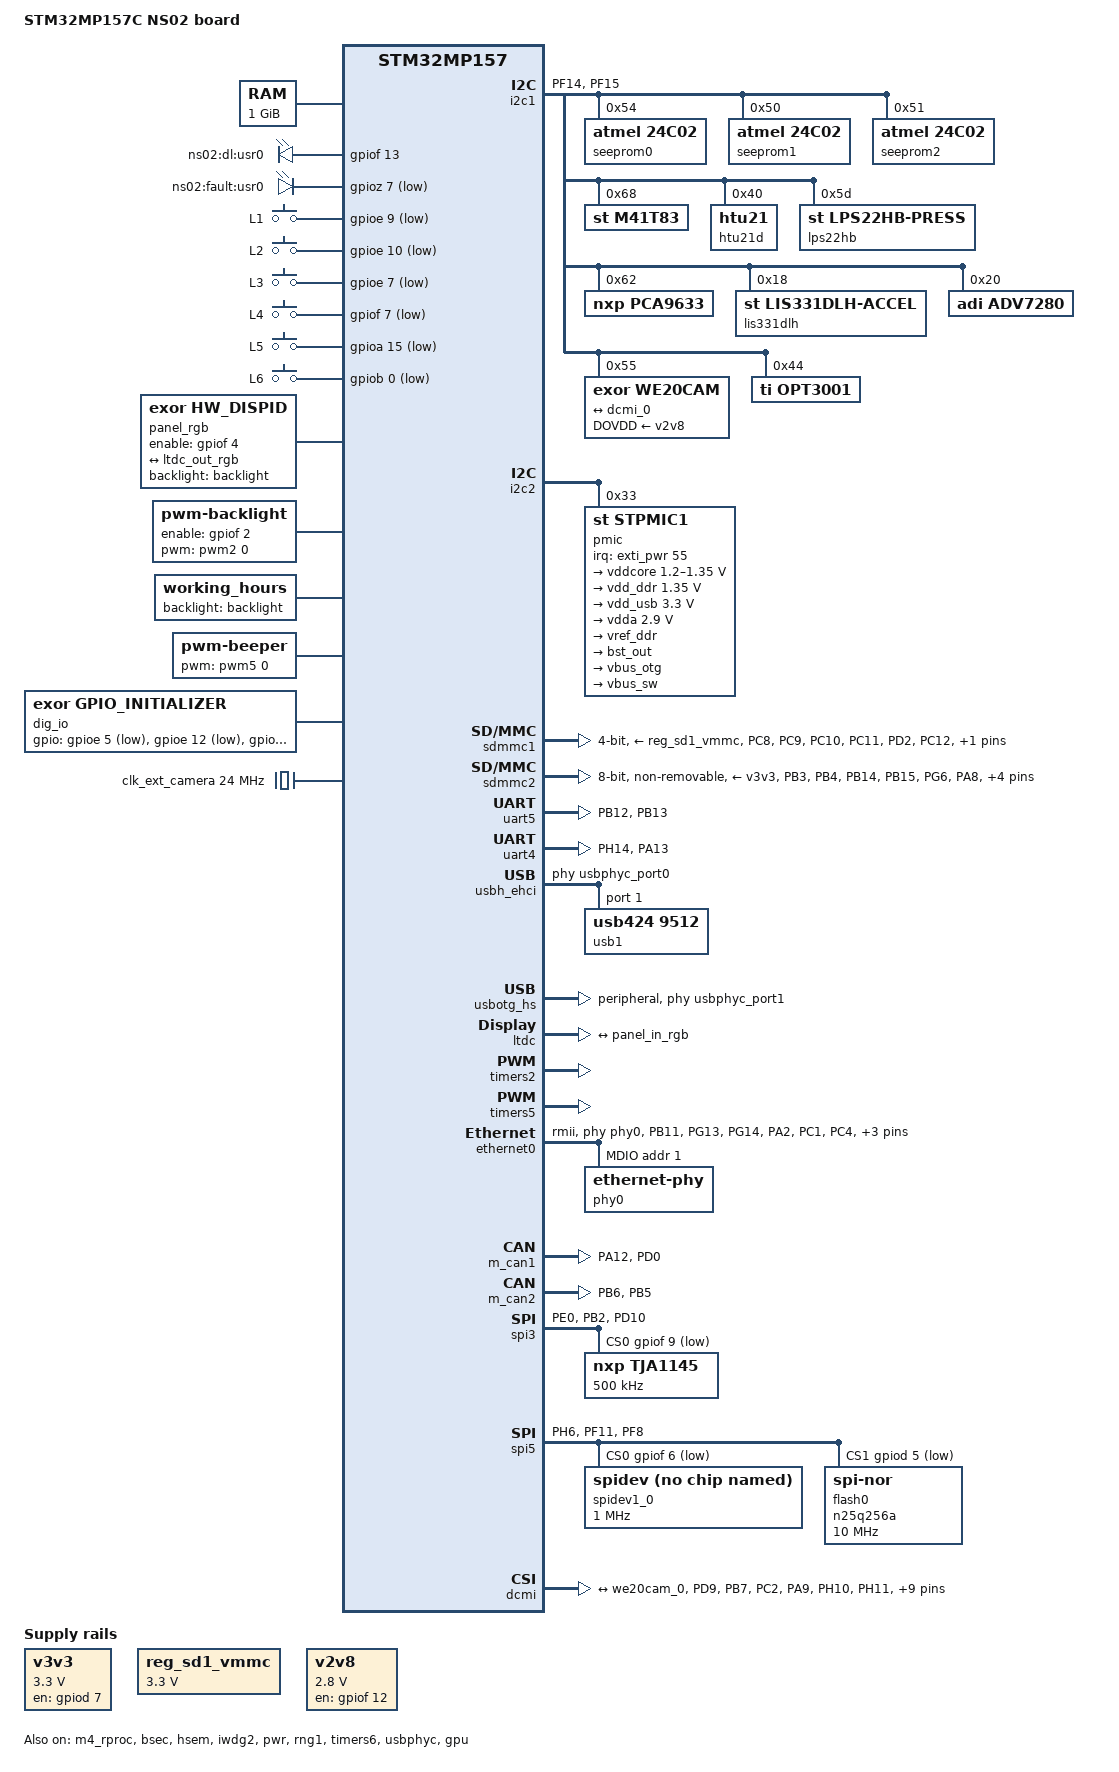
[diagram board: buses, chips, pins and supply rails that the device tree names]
/* SPDX-License-Identifier: (GPL-2.0+ OR BSD-3-Clause) */
/*
 * Copyright (C) STMicroelectronics 2019 - All Rights Reserved
 * Author: STM32CubeMX code generation for STMicroelectronics.
 */

/dts-v1/;
#include "stm32mp157c.dtsi"
#include "stm32mp157c-m4-srm.dtsi"
#include "stm32mp157cac-pinctrl.dtsi"

/* USER CODE BEGIN includes */
#include <dt-bindings/gpio/gpio.h>
#include <dt-bindings/input/input.h>
#include <dt-bindings/mfd/st,stpmic1.h>
#include <dt-bindings/rtc/rtc-stm32.h>
/* USER CODE END includes */

/ {
	model = "STM32MP157C NS02 board";
	compatible = "st,stm32mp157c-ns02", "st,stm32mp157";

	memory@c0000000 {
		reg = <0xc0000000 0x40000000>;

		/* USER CODE BEGIN memory */
		/* USER CODE END memory */
	};

	reserved-memory {
		#address-cells = <1>;
		#size-cells = <1>;
		ranges;

		/* USER CODE BEGIN reserved-memory */

		retram: retram@0x38000000 {
			compatible = "shared-dma-pool";
			reg = <0x38000000 0x10000>;
			no-map;
		};

		mcuram: mcuram@0x30000000 {
			compatible = "shared-dma-pool";
			reg = <0x30000000 0x40000>;
			no-map;
		};

		mcuram2: mcuram2@0x10000000 {
			compatible = "shared-dma-pool";
			reg = <0x10000000 0x40000>;
			no-map;
		};

		vdev0vring0: vdev0vring0@10040000 {
			compatible = "shared-dma-pool";
			reg = <0x10040000 0x2000>;
			no-map;
		};

		vdev0vring1: vdev0vring1@10042000 {
			compatible = "shared-dma-pool";
			reg = <0x10042000 0x2000>;
			no-map;
		};

		vdev0buffer: vdev0buffer@10044000 {
			compatible = "shared-dma-pool";
			reg = <0x10044000 0x4000>;
			no-map;
		};
		/* USER CODE END reserved-memory */

		gpu_reserved: gpu@f8000000 {
			reg = <0xf8000000 0x8000000>;
			no-map;
		};
	};

	/* USER CODE BEGIN root */
	aliases {
		serial0 = &uart5;
		serial1 = &uart4;
		ethernet1 = &usbeth;
		ethernet0 = &ethernet0;
		spi0 = &spi3;
		spi1 = &spi5;
		mmc0 = &sdmmc1;
		mmc1 = &sdmmc2;
		can0 = &m_can1;
		can1 = &m_can2;
	};

	chosen {
		stdout-path = "serial0:115200n8";
	};

	sram: sram@10050000 {
		compatible = "mmio-sram";
		reg = <0x10050000 0x10000>;
		#address-cells = <1>;
		#size-cells = <1>;
		ranges = <0 0x10050000 0x10000>;

		dma_pool: dma_pool@0 {
			reg = <0x0 0x10000>;
			pool;
		};
	};
	
	ns02_rst {
		soft_rst_gpio = <&gpioz 5 GPIO_ACTIVE_HIGH>;
	};
	
	leds:leds {
		compatible = "gpio-leds";
        
		dlled@1 {
			label = "ns02:dl:usr0";
			gpios = <&gpiof 13 GPIO_ACTIVE_HIGH>;
			default-state = "on";
		};
  
		faultled@2 {
			label = "ns02:fault:usr0";
			gpios = <&gpioz 7 GPIO_ACTIVE_LOW>;
			default-state = "off";
		};
	};

	gpio_buttons: gpio_buttons@0 {
		compatible = "gpio-keys-polled";
		poll-interval = <50>;
		#address-cells = <1>;
		#size-cells = <0>;

		button@1 {
		    label = "L1";
		    linux,code = <59>; /* KEY_F1 */
		    gpios = <&gpioe 9 GPIO_ACTIVE_LOW>;
		};

		button@2 {
		    label = "L2";
		    linux,code = <60>; /* KEY_F2 */
		    gpios = <&gpioe 10 GPIO_ACTIVE_LOW>;
		};

		button@3 {
		    label = "L3";
		    linux,code = <61>; /* KEY_F3 */
		    gpios = <&gpioe 7 GPIO_ACTIVE_LOW>;
		};

		button@4 {
		    label = "L4";
		    linux,code = <62>; /* KEY_F4 */
		    gpios = <&gpiof 7 GPIO_ACTIVE_LOW>;
		};

		button@5 {
		    label = "L5";
		    linux,code = <63>; /* KEY_F5 */
		    gpios = <&gpioa 15 GPIO_ACTIVE_LOW>;
		};

		button@6 {
		    label = "L6";
		    linux,code = <64>; /* KEY_F6 */
		    gpios = <&gpiob 0 GPIO_ACTIVE_LOW>;
		};
	};

    regulators {
        compatible = "simple-bus";
        #address-cells = <1>;
        #size-cells = <0>;

        v3v3: regulator@0 {
            compatible = "regulator-fixed";
            reg = <0>;
            gpio = <&gpiod 7 0>;
            enable-active-high;
            regulator-name = "dummy-3v3-supply";
            regulator-boot-on;
            regulator-always-on;
			regulator-min-microvolt = <3300000>;
			regulator-max-microvolt = <3300000>;
        };

		reg_sd1_vmmc: sd1_regulator {
			compatible = "regulator-fixed";
			regulator-name = "sdcard_enable";
			reg = <1>;
			regulator-min-microvolt = <3300000>;
			regulator-max-microvolt = <3300000>;
			regulator-boot-on;
			regulator-always-on;
			enable-active-low;
		};
		
		v2v8: v2v8reg {
			compatible = "regulator-fixed";
			regulator-name = "camera-supply";
			reg = <3>;
			regulator-min-microvolt = <2800000>;
			regulator-max-microvolt = <2800000>;
			gpio = <&gpiof 12 0>;
			enable-active-high;
			regulator-boot-on;
			regulator-always-on;
		};
	};

	panel_rgb: panel-rgb {
		compatible = "exor,hw_dispid";
		pinctrl-names = "default", "sleep";
		pinctrl-0 = <&ns02_ltdc_pins>;
		pinctrl-1 = <&ns02_ltdc_pins_sleep>;
		enable-gpios = <&gpiof 4 GPIO_ACTIVE_HIGH>;
		backlight = <&backlight>;
		status = "okay";
		port {
			panel_in_rgb: endpoint {
				remote-endpoint = <&ltdc_out_rgb>;
			};
		};
	};

	backlight: backlight {
		compatible = "pwm-backlight";
		pwms = <&pwm2 0 50000 0>;
		brightness-levels = <0 4 8 12 16 20 24 28 32 36 40 44 48 52 56 60 64 68 72 76 80 84 88 92 96 100>;
		default-brightness-level = <0>;
		enable-gpios = <&gpiof 2 GPIO_ACTIVE_HIGH>;
		status = "okay";
	};

	working_hours {
		compatible = "working_hours";
		nvmem-names = "eeprom", "rtcnvram";
		nvmem = <&seeprom0>, <&m41t83>;
		backlight = <&backlight>;
		status = "okay";
	};

	beeper {
		compatible = "pwm-beeper";
		pwms = <&pwm5 0 50000 0>;
	};

	dig_io:dig_io {
		compatible = "exor,gpio_initializer";
		pinctrl-names = "default";
		pinctrl-0 = <&pinctrl_dig_io>;

		gpios = <&gpioe 5  0x21>, <&gpioe 12 0x21>, <&gpioe 4 0x21>, <&gpiog 12 0x21>, <&gpioa 3 0x21>,  <&gpiob 1 0x21>,
				<&gpiod 12 0x20>, <&gpiod 14 0x20>, <&gpioe 6 0x20>, <&gpioh 8 0x20>,  <&gpiod 15 0x20>, <&gpioh 2 0x20>;

		gpio-names = "flt12", "flt34", "in1", "in2", "in3", "in4",
					 "en12", "en34", "out1", "out2", "out3", "out4";
	};
	
	/* USER CODE END root */

	clocks {
		/* USER CODE BEGIN clocks */
		/* USER CODE END clocks */

		clk_lsi: clk-lsi {
			clock-frequency = <32000>;
		};

		clk_hsi: clk-hsi {
			clock-frequency = <64000000>;
		};

		clk_lse: clk-lse {
			clock-frequency = <32768>;
		};

		clk_hse: clk-hse {
			clock-frequency = <24000000>;
		};
		
		clk_ext_camera: clk-ext-camera {
			#clock-cells = <0>;
			compatible = "fixed-clock";
			clock-frequency = <24000000>;
		};
	};
	
	usb_phy_tuning: usb-phy-tuning {
		st,hs-dc-level = <2>;
		st,fs-rftime-tuning;
		st,hs-rftime-reduction;
		st,hs-current-trim = <15>;
		st,hs-impedance-trim = <1>;
		st,squelch-level = <3>;
		st,hs-rx-offset = <2>;
		st,no-lsfs-sc;
	};

}; /*root*/

&pinctrl {
	u-boot,dm-pre-reloc;

	i2c1_pins_mx: i2c1_mx-0 {
		pins {
			pinmux = <STM32_PINMUX('F', 14, AF5)>, /* I2C1_SCL */
					 <STM32_PINMUX('F', 15, AF5)>; /* I2C1_SDA */
			bias-pull-up;
			drive-open-drain;
			slew-rate = <0>;
		};
	};

	i2c1_sleep_pins_mx: i2c1_sleep_mx-0 {
		pins {
			pinmux = <STM32_PINMUX('F', 14, ANALOG)>, /* I2C1_SCL */
					 <STM32_PINMUX('F', 15, ANALOG)>; /* I2C1_SDA */
		};
	};

	sdmmc1_pins_mx: sdmmc1_mx-0 {
		u-boot,dm-pre-reloc;
		pins1 {
			u-boot,dm-pre-reloc;
			pinmux = <STM32_PINMUX('C', 8, AF12)>, /* SDMMC1_D0 */
					 <STM32_PINMUX('C', 9, AF12)>, /* SDMMC1_D1 */
					 <STM32_PINMUX('C', 10, AF12)>, /* SDMMC1_D2 */
					 <STM32_PINMUX('C', 11, AF12)>, /* SDMMC1_D3 */
					 <STM32_PINMUX('D', 2, AF12)>; /* SDMMC1_CMD */
			bias-disable;
			drive-push-pull;
			slew-rate = <1>;
		};
		pins2 {
			u-boot,dm-pre-reloc;
			pinmux = <STM32_PINMUX('C', 12, AF12)>; /* SDMMC1_CK */
			bias-disable;
			drive-push-pull;
			slew-rate = <2>;
		};
	};

	sdmmc1_opendrain_pins_mx: sdmmc1_opendrain_mx-0 {
		u-boot,dm-pre-reloc;
		pins1 {
			u-boot,dm-pre-reloc;
			pinmux = <STM32_PINMUX('C', 8, AF12)>, /* SDMMC1_D0 */
					 <STM32_PINMUX('C', 9, AF12)>, /* SDMMC1_D1 */
					 <STM32_PINMUX('C', 10, AF12)>, /* SDMMC1_D2 */
					 <STM32_PINMUX('C', 11, AF12)>; /* SDMMC1_D3 */
			bias-disable;
			drive-push-pull;
			slew-rate = <1>;
		};
		pins2 {
			u-boot,dm-pre-reloc;
			pinmux = <STM32_PINMUX('C', 12, AF12)>; /* SDMMC1_CK */
			bias-disable;
			drive-push-pull;
			slew-rate = <2>;
		};
		pins3 {
			u-boot,dm-pre-reloc;
			pinmux = <STM32_PINMUX('D', 2, AF12)>; /* SDMMC1_CMD */
			bias-disable;
			drive-open-drain;
			slew-rate = <1>;
		};
	};

	sdmmc1_sleep_pins_mx: sdmmc1_sleep_mx-0 {
		u-boot,dm-pre-reloc;
		pins {
			u-boot,dm-pre-reloc;
			pinmux = <STM32_PINMUX('C', 8, ANALOG)>, /* SDMMC1_D0 */
					 <STM32_PINMUX('C', 9, ANALOG)>, /* SDMMC1_D1 */
					 <STM32_PINMUX('C', 10, ANALOG)>, /* SDMMC1_D2 */
					 <STM32_PINMUX('C', 11, ANALOG)>, /* SDMMC1_D3 */
					 <STM32_PINMUX('C', 12, ANALOG)>, /* SDMMC1_CK */
					 <STM32_PINMUX('D', 2, ANALOG)>; /* SDMMC1_CMD */
		};
	};

	sdmmc2_pins_mx: sdmmc2_mx-0 {
		u-boot,dm-pre-reloc;
		pins1 {
			u-boot,dm-pre-reloc;
			pinmux = <STM32_PINMUX('B', 3, AF9)>, /* SDMMC2_D2 */
					 <STM32_PINMUX('B', 4, AF9)>, /* SDMMC2_D3 */
					 <STM32_PINMUX('B', 14, AF9)>, /* SDMMC2_D0 */
					 <STM32_PINMUX('B', 15, AF9)>, /* SDMMC2_D1 */
					 <STM32_PINMUX('G', 6, AF10)>, /* SDMMC2_CMD */
					 <STM32_PINMUX('A', 8, AF9)>, /* SDMMC2_D4 */
					 <STM32_PINMUX('B', 9, AF10)>, /* SDMMC2_D5 */
					 <STM32_PINMUX('C', 6, AF10)>, /* SDMMC2_D6 */
					 <STM32_PINMUX('C', 7, AF10)>; /* SDMMC2_D7 */
			bias-disable;
			drive-push-pull;
			slew-rate = <1>;
		};
		pins2 {
			u-boot,dm-pre-reloc;
			pinmux = <STM32_PINMUX('E', 3, AF9)>; /* SDMMC2_CK */
			bias-disable;
			drive-push-pull;
			slew-rate = <2>;
		};
	};

	sdmmc2_opendrain_pins_mx: sdmmc2_opendrain_mx-0 {
		u-boot,dm-pre-reloc;
		pins1 {
			u-boot,dm-pre-reloc;
			pinmux = <STM32_PINMUX('B', 3, AF9)>, /* SDMMC2_D2 */
					 <STM32_PINMUX('B', 4, AF9)>, /* SDMMC2_D3 */
					 <STM32_PINMUX('B', 14, AF9)>, /* SDMMC2_D0 */
					 <STM32_PINMUX('B', 15, AF9)>, /* SDMMC2_D1 */
					 <STM32_PINMUX('A', 8, AF9)>, /* SDMMC2_D4 */
					 <STM32_PINMUX('B', 9, AF10)>, /* SDMMC2_D5 */
					 <STM32_PINMUX('C', 6, AF10)>, /* SDMMC2_D6 */
					 <STM32_PINMUX('C', 7, AF10)>; /* SDMMC2_D7 */
			bias-disable;
			drive-push-pull;
			slew-rate = <1>;
		};
		pins2 {
			u-boot,dm-pre-reloc;
			pinmux = <STM32_PINMUX('E', 3, AF9)>; /* SDMMC2_CK */
			bias-disable;
			drive-push-pull;
			slew-rate = <2>;
		};
		pins3 {
			u-boot,dm-pre-reloc;
			pinmux = <STM32_PINMUX('G', 6, AF10)>; /* SDMMC2_CMD */
			bias-disable;
			drive-open-drain;
			slew-rate = <1>;
		};
	};

	sdmmc2_sleep_pins_mx: sdmmc2_sleep_mx-0 {
		u-boot,dm-pre-reloc;
		pins {
			u-boot,dm-pre-reloc;
			pinmux = <STM32_PINMUX('B', 3, ANALOG)>, /* SDMMC2_D2 */
					 <STM32_PINMUX('B', 4, ANALOG)>, /* SDMMC2_D3 */
					 <STM32_PINMUX('B', 14, ANALOG)>, /* SDMMC2_D0 */
					 <STM32_PINMUX('B', 15, ANALOG)>, /* SDMMC2_D1 */
					 <STM32_PINMUX('E', 3, ANALOG)>, /* SDMMC2_CK */
					 <STM32_PINMUX('G', 6, ANALOG)>, /* SDMMC2_CMD */
					 <STM32_PINMUX('A', 8, ANALOG)>, /* SDMMC2_D4 */
					 <STM32_PINMUX('B', 9, ANALOG)>, /* SDMMC2_D5 */
					 <STM32_PINMUX('C', 6, ANALOG)>, /* SDMMC2_D6 */
					 <STM32_PINMUX('C', 7, ANALOG)>; /* SDMMC2_D7 */
		};
	};

	uart5_pins_mx: uart5_mx-0 {
		u-boot,dm-pre-reloc;
		pins1 {
			u-boot,dm-pre-reloc;
			pinmux = <STM32_PINMUX('B', 12, AF14)>; /* UART5_RX */
			bias-disable;
		};
		pins2 {
			u-boot,dm-pre-reloc;
			pinmux = <STM32_PINMUX('B', 13, AF14)>; /* UART5_TX */
			bias-disable;
			drive-push-pull;
			slew-rate = <0>;
		};
	};

	uart5_sleep_pins_mx: uart5_sleep_mx-0 {
		u-boot,dm-pre-reloc;
		pins {
			u-boot,dm-pre-reloc;
			pinmux = <STM32_PINMUX('B', 12, ANALOG)>, /* UART5_RX */
					 <STM32_PINMUX('B', 13, ANALOG)>; /* UART5_TX */
		};
	};

	uart4_pins_mx: uart4_mx-0 {
		u-boot,dm-pre-reloc;
		pins1 {
			u-boot,dm-pre-reloc;
			pinmux = <STM32_PINMUX('H', 14, AF8)>; /* UART4_RX */
			bias-disable;
		};
		pins2 {
			u-boot,dm-pre-reloc;
			pinmux = <STM32_PINMUX('A', 13, AF8)>; /* UART4_TX */
			bias-disable;
			drive-push-pull;
			slew-rate = <0>;
		};
	};

	uart4_sleep_pins_mx: uart4_sleep_mx-0 {
		u-boot,dm-pre-reloc;
		pins {
			u-boot,dm-pre-reloc;
			pinmux = <STM32_PINMUX('H', 14, ANALOG)>, /* UART4_RX */
					 <STM32_PINMUX('A', 13, ANALOG)>; /* UART4_TX */
		};
	};
	
	/* USER CODE BEGIN pinctrl */
	ns02_ltdc_pins: ltdc-ns02-0 {
		pins {
			pinmux = <STM32_PINMUX('G',  7, AF14)>, /* LCD_CLK */
					 <STM32_PINMUX('I', 10, AF14)>, /* LCD_HSYNC */
					 <STM32_PINMUX('I',  9, AF14)>, /* LCD_VSYNC */
					 <STM32_PINMUX('F', 10, AF14)>, /* LCD_DE */
					 <STM32_PINMUX('H',  9, AF14)>, /* LCD_R3 */
					 <STM32_PINMUX('A', 11, AF14)>, /* LCD_R4 */
					 <STM32_PINMUX('C',  0, AF14)>, /* LCD_R5 */
					 <STM32_PINMUX('H', 12, AF14)>, /* LCD_R6 */
					 <STM32_PINMUX('E', 15, AF14)>, /* LCD_R7 */
					 <STM32_PINMUX('H', 13, AF14)>, /* LCD_G2 */
					 <STM32_PINMUX('G', 10, AF9 )>, /* LCD_G3 */
					 <STM32_PINMUX('H',  4, AF14)>, /* LCD_G4 */
					 <STM32_PINMUX('I',  0, AF14)>, /* LCD_G5 */
					 <STM32_PINMUX('I', 11, AF9 )>, /* LCD_G6 */
					 <STM32_PINMUX('G',  8, AF14)>, /* LCD_G7 */
					 <STM32_PINMUX('G', 11, AF14)>, /* LCD_B3 */
					 <STM32_PINMUX('I',  4, AF14)>, /* LCD_B4 */
					 <STM32_PINMUX('I',  5, AF14)>, /* LCD_B5 */
					 <STM32_PINMUX('I',  6, AF14)>, /* LCD_B6 */
					 <STM32_PINMUX('D',  8, AF14)>; /* LCD_B7 */
					bias-disable;
					drive-push-pull;
					slew-rate = <1>;
		};
	};

	ns02_ltdc_pins_sleep: ltdc-ns02-1 {
		pins {
			pinmux = <STM32_PINMUX('G',  7, ANALOG)>, /* LCD_CLK */
					 <STM32_PINMUX('I', 10, ANALOG)>, /* LCD_HSYNC */
					 <STM32_PINMUX('I',  9, ANALOG)>, /* LCD_VSYNC */
					 <STM32_PINMUX('F', 10, ANALOG)>, /* LCD_DE */
					 <STM32_PINMUX('H',  9, ANALOG)>, /* LCD_R3 */
					 <STM32_PINMUX('A', 11, ANALOG)>, /* LCD_R4 */
					 <STM32_PINMUX('C',  0, ANALOG)>, /* LCD_R5 */
					 <STM32_PINMUX('H', 12, ANALOG)>, /* LCD_R6 */
					 <STM32_PINMUX('E', 15, ANALOG)>, /* LCD_R7 */
					 <STM32_PINMUX('H', 13, ANALOG)>, /* LCD_G2 */
					 <STM32_PINMUX('G', 10, ANALOG)>, /* LCD_G3 */
					 <STM32_PINMUX('H',  4, ANALOG)>, /* LCD_G4 */
					 <STM32_PINMUX('I',  0, ANALOG)>, /* LCD_G5 */
					 <STM32_PINMUX('I', 11, ANALOG)>, /* LCD_G6 */
					 <STM32_PINMUX('G',  8, ANALOG)>, /* LCD_G7 */
					 <STM32_PINMUX('G', 11, ANALOG)>, /* LCD_B3 */
					 <STM32_PINMUX('I',  4, ANALOG)>, /* LCD_B4 */
					 <STM32_PINMUX('I',  5, ANALOG)>, /* LCD_B5 */
					 <STM32_PINMUX('I',  6, ANALOG)>, /* LCD_B6 */
					 <STM32_PINMUX('D',  8, ANALOG)>; /* LCD_B7 */
		};
	};
	
	pwm2bl_pins: pwm2bl-pins-0 {
		pins {
			pinmux = <STM32_PINMUX('A',  5, AF1)>; /* DIMM */
			bias-pull-down;
			drive-push-pull;
			slew-rate = <0>;
		};
	};

	pwm2bl_sleep_pins: pwm2bl-pins-1 {
		pins {
			pinmux = <STM32_PINMUX('A',  5, ANALOG)>; /* DIMM */
		};
	};

	pwm5beep_pins: pwm5beep-pins-0 {
		pins {
			pinmux = <STM32_PINMUX('A',  0, AF2)>; /* BEEPER */
			bias-pull-down;
			drive-push-pull;
			slew-rate = <0>;
		};
	};

	pwm5beep_sleep_pins: pwm5beep-pins-1 {
		pins {
			pinmux = <STM32_PINMUX('A',  0, ANALOG)>; /* BEEPER */
		};
	};
	
	ethernet0_rmii_pins: rmii-0 {
		pins1 {
			pinmux = <STM32_PINMUX('B', 11, AF11)>, /* RMII_TXEN */
			<STM32_PINMUX('G', 13, AF11)>, /* ETH_RMII_TXD0 */
			<STM32_PINMUX('G', 14, AF11)>, /* ETH_RMII_TXD1 */
			<STM32_PINMUX('A', 2,  AF11)>, /* ETH_MDIO */
			<STM32_PINMUX('C', 1,  AF11)>; /* ETH_MDC */
			bias-disable;
			drive-push-pull;
			slew-rate = <2>;
		};
		pins2 {
			pinmux = <STM32_PINMUX('C', 4, AF11)>, /* ETH_RMII_RXD0 */
			<STM32_PINMUX('C', 5, AF11)>, /* ETH_RMII_RXD1 */
			<STM32_PINMUX('A', 1, AF11)>, /* ETH_RMII_CLK */
			<STM32_PINMUX('A', 7, AF11)>; /* ETH_RMII_DV */
			bias-disable;
		};
	};

	ethernet0_rmii_pins_sleep: rmii-1 {
		pins1 {
			pinmux = <STM32_PINMUX('B', 11, ANALOG)>, /* RMII_TXEN */
			<STM32_PINMUX('G', 13, ANALOG)>, /* ETH_RMII_TXD0 */
			<STM32_PINMUX('G', 14, ANALOG)>, /* ETH_RMII_TXD1 */
			<STM32_PINMUX('A', 2,  ANALOG)>, /* ETH_MDIO */
			<STM32_PINMUX('C', 1,  ANALOG)>, /* ETH_MDC */
			<STM32_PINMUX('C', 4, ANALOG)>, /* ETH_RMII_RXD0 */
			<STM32_PINMUX('C', 5, ANALOG)>, /* ETH_RMII_RXD1 */
			<STM32_PINMUX('A', 1, ANALOG)>, /* ETH_RMII_CLK */
			<STM32_PINMUX('A', 7, ANALOG)>; /* ETH_RMII_DV */
			bias-disable;
		};
	};

	can0_pins: m_can0-0 {
		pins1 {
			pinmux = <STM32_PINMUX('A', 12, AF9)>; /* CAN1_TX */
			slew-rate = <1>;
			drive-push-pull;
			bias-disable;
		};
		pins2 {
			pinmux = <STM32_PINMUX('D', 0, AF9)>; /* CAN1_RX */
			bias-disable;
		};
	};

	can0_pins_sleep: m_can0-1 {
		pins {
			pinmux = <STM32_PINMUX('A', 12, ANALOG)>, /* CAN1_TX */
			<STM32_PINMUX('D', 0, ANALOG)>; /* CAN1_RX */
		};
	};
	
	can1_pins: m_can1-0 {
		pins1 {
			pinmux = <STM32_PINMUX('B', 6, AF9)>; /* CAN2_TX */
			slew-rate = <1>;
			drive-push-pull;
			bias-disable;
		};
		pins2 {
			pinmux = <STM32_PINMUX('B', 5, AF9)>; /* CAN2_RX */
			bias-disable;
		};
	};

	can1_pins_sleep: m_can1-1 {
		pins {
			pinmux = <STM32_PINMUX('B', 6, ANALOG)>, /* CAN2_TX */
			<STM32_PINMUX('B', 5, ANALOG)>; /* CAN2_RX */
		};
	};
	
	spi3_pins_ns02: spi3-0 {
		pins1 {
			pinmux = <STM32_PINMUX('E', 0, AF5)>, /* SPI3_SCK */
					 <STM32_PINMUX('B', 2, AF7)>; /* SPI3_MOSI */
					 bias-disable;
					 drive-push-pull;
					 slew-rate = <1>;
			};
			pins2 {
					 pinmux = <STM32_PINMUX('D', 10, AF5)>; /* SPI3_MISO */
					 bias-disable;
			};
	};

	spi5_pins_ns02: spi5-0 {
		pins1 {
			pinmux = <STM32_PINMUX('H', 6, AF5)>, /* SPI5_SCK */
					 <STM32_PINMUX('F',11, AF5)>; /* SPI5_MOSI */
					 bias-disable;
					 drive-push-pull;
					 slew-rate = <1>;
			};
			pins2 {
					 pinmux = <STM32_PINMUX('F', 8, AF5)>; /* SPI5_MISO */
					 bias-disable;
			};
	};

	dcmi_pins_ns02: dcmi_ns02-0 {
		pins {
			pinmux = <STM32_PINMUX('D', 9,  AF13)>,/* DCMI_HSYNC */
					 <STM32_PINMUX('B', 7,  AF13)>,/* DCMI_VSYNC */
					 <STM32_PINMUX('C', 2,  AF13)>,/* DCMI_PIXCLK */
					 <STM32_PINMUX('A', 9,  AF13)>,/* DCMI_D0 */
					 <STM32_PINMUX('H', 10, AF13)>,/* DCMI_D1 */
					 <STM32_PINMUX('H', 11, AF13)>,/* DCMI_D2 */
					 <STM32_PINMUX('E', 1,  AF13)>,/* DCMI_D3 */
					 <STM32_PINMUX('E', 11, AF13)>,/* DCMI_D4 */
					 <STM32_PINMUX('D', 3,  AF13)>,/* DCMI_D5 */
					 <STM32_PINMUX('E', 13, AF13)>,/* DCMI_D6 */
					 <STM32_PINMUX('I', 7,  AF13)>,/* DCMI_D7 */
					 <STM32_PINMUX('I', 1,  AF13)>,/* DCMI_D8 */
					 <STM32_PINMUX('H', 7,  AF13)>,/* DCMI_D9 */
					 <STM32_PINMUX('D', 6,  AF13)>,/* DCMI_D10 */
					 <STM32_PINMUX('H', 15, AF13)>;/* DCMI_D11 */
					 bias-disable;
			};
	};

	dcmi_sleep_pins_ns02: dcmi_sleep_ns02-0 {
		pins {
			pinmux = <STM32_PINMUX('D', 9,  ANALOG)>,/* DCMI_HSYNC */
					 <STM32_PINMUX('B', 7,  ANALOG)>,/* DCMI_VSYNC */
					 <STM32_PINMUX('C', 2,  ANALOG)>,/* DCMI_PIXCLK */
					 <STM32_PINMUX('A', 9,  ANALOG)>,/* DCMI_D0 */
					 <STM32_PINMUX('H', 10, ANALOG)>,/* DCMI_D1 */
					 <STM32_PINMUX('H', 11, ANALOG)>,/* DCMI_D2 */
					 <STM32_PINMUX('E', 1,  ANALOG)>,/* DCMI_D3 */
					 <STM32_PINMUX('E', 11, ANALOG)>,/* DCMI_D4 */
					 <STM32_PINMUX('D', 3,  ANALOG)>,/* DCMI_D5 */
					 <STM32_PINMUX('E', 13, ANALOG)>,/* DCMI_D6 */
					 <STM32_PINMUX('I', 7,  ANALOG)>,/* DCMI_D7 */
					 <STM32_PINMUX('I', 1,  ANALOG)>,/* DCMI_D8 */
					 <STM32_PINMUX('H', 7,  ANALOG)>,/* DCMI_D9 */
					 <STM32_PINMUX('D', 6,  ANALOG)>,/* DCMI_D10 */
					 <STM32_PINMUX('H', 15, ANALOG)>;/* DCMI_D11 */
					 bias-disable;
			};
	};
	
	/* USER CODE END pinctrl */
};

&m4_rproc{
	mboxes = <&ipcc 0>, <&ipcc 1>, <&ipcc 2>;
	mbox-names = "vq0", "vq1", "shutdown";
	recovery;
	status = "okay";

	/* USER CODE BEGIN m4_rproc */
	interrupt-parent = <&exti>;
	interrupts = <68 1>;
	interrupt-names = "wdg";
	/* USER CODE END m4_rproc */
};

&bsec{
	status = "okay";

	/* USER CODE BEGIN bsec */
	/* USER CODE END bsec */
};

&hsem{
	status = "okay";

	/* USER CODE BEGIN hsem */
	/* USER CODE END hsem */
};

&i2c1{
	pinctrl-names = "default", "sleep";
	pinctrl-0 = <&i2c1_pins_mx>;
	pinctrl-1 = <&i2c1_sleep_pins_mx>;
	status = "okay";

	/* USER CODE BEGIN i2c1 */
	i2c-scl-rising-time-ns = <100>;
	i2c-scl-falling-time-ns = <7>;
	/delete-property/dmas;
	/delete-property/dma-names;
	
	seeprom0:seeprom0@54 {
		compatible = "atmel,24c02";
		reg = <0x54>;
	};

	seeprom1:seeprom1@50 {
		compatible = "atmel,24c02";
		reg = <0x50>;
	};

	seeprom2:seeprom2@51 {
		compatible = "atmel,24c02";
		reg = <0x51>;
	};
	
	m41t83:m41t83@68 {
		compatible = "st,m41t83";
		reg = <0x68>;
	};

	htu21d@40 {
	  /* Temperature/humidity */
	  compatible = "htu21";
	  reg = <0x40>;
	};

	lps22hb@5d {
	    /* Pressure sensor LPS22HB */
	    compatible = "st,lps22hb-press";
	    reg = <0x5d>;
	};
	
	pca9633: pca9633 {
	  compatible = "nxp,pca9633";
	  #address-cells = <1>;
	  #size-cells = <0>;
	  reg = <0x62>;

	    red@0 {
		    label = "red";
		    reg = <0>;
		    linux,default-trigger = "none";
	      
	    };
	    green@1 {
		    label = "green";
		    reg = <1>;
		    linux,default-trigger = "none";
	    };
	    blue@2 {
		    label = "blue";
		    reg = <2>;
		    linux,default-trigger = "none";
	    };
	    unused@3 {
		    label = "unused";
		    reg = <3>;
		    linux,default-trigger = "none";
	    };
	};

	lis331dlh@18 {
	  /* Accelerometer */
	  compatible = "st,lis331dlh-accel";
	  reg = <0x18>;
	};

	adv7280@20 {
		status = "okay";
		compatible = "adi,adv7280";
		reg = <0x20>;
/*	  	pwn-gpios = <&tca6424_sb_23 13 GPIO_ACTIVE_HIGH>;*/
		csi_id =<0>; /* ?? */
		cvbs = <1>; /* Analogue channel: input 8 */
/*	  	clocks = <&clks IMX7D_CSI_MCLK_ROOT_CLK>;
		clock-names = "csi_mclk";*/
		clocks = <&clk_ext_camera>;
		clock-names = "xclk";
	};

	/* we20 FPGA; most settings taken from ov5640 camera and ignored */
	we20cam: camera@55 {
		compatible = "exor,we20cam";
		reg = <0x55>;
		clocks = <&clk_ext_camera>;
		clock-names = "xclk";
		DOVDD-supply = <&v2v8>;
		rotation = <0>;
		status = "okay";

		port {
			we20cam_0: endpoint {
				remote-endpoint = <&dcmi_0>;
				bus-width = <8>;
				data-shift = <0>; /* lines 7:0 are used */
				hsync-active = <1>;
				vsync-active = <1>;
				pclk-sample = <1>;
				pclk-max-frequency = <77000000>;
			};
		};
	};
	
	opt3001@44 {
	  compatible = "ti,opt3001";
	  reg = <0x44>;
	};		
	/* USER CODE END i2c1 */
};

&i2c2{
	pinctrl-names = "default", "sleep";
	status = "okay";
	
	/*NOTE: pinmux still set by bootloader */

	/* USER CODE BEGIN i2c2 */
	pmic: stpmic@33 {
		compatible = "st,stpmic1";
		reg = <0x33>;
		interrupts-extended = <&exti_pwr 55 IRQ_TYPE_EDGE_FALLING>;
		interrupt-controller;
		#interrupt-cells = <2>;
		status = "okay";

		st,main-control-register = <0x04>;
		st,vin-control-register = <0xc0>;
		st,usb-control-register = <0x20>;

		regulators {
			compatible = "st,stpmic1-regulators";

			ldo1-supply = <&v3v3>;
			ldo3-supply = <&vdd_ddr>;
			ldo6-supply = <&v3v3>;
			pwr_sw1-supply = <&bst_out>;
			pwr_sw2-supply = <&bst_out>;

			vddcore: buck1 {
				regulator-name = "vddcore";
				regulator-min-microvolt = <1200000>;
				regulator-max-microvolt = <1350000>;
				regulator-always-on;
				regulator-initial-mode = <0>;
				regulator-over-current-protection;
			};

			vdd_ddr: buck2 {
				regulator-name = "vdd_ddr";
				regulator-min-microvolt = <1350000>;
				regulator-max-microvolt = <1350000>;
				regulator-always-on;
				regulator-initial-mode = <0>;
				regulator-over-current-protection;
			};

			vdd_usb: ldo4 {
				regulator-name = "vdd_usb";
				regulator-min-microvolt = <3300000>;
				regulator-max-microvolt = <3300000>;
				interrupts = <IT_CURLIM_LDO4 0>;
			};

			vdda: ldo1 {
				regulator-name = "vdda";
				regulator-min-microvolt = <2900000>;
				regulator-max-microvolt = <2900000>;
				interrupts = <IT_CURLIM_LDO1 0>;
				regulator-boot-on;
			};

			vref_ddr: vref_ddr {
				regulator-name = "vref_ddr";
				regulator-always-on;
				regulator-over-current-protection;
			};

			 bst_out: boost {
				regulator-name = "bst_out";
				interrupts = <IT_OCP_BOOST 0>;
			 };

			vbus_otg: pwr_sw1 {
				regulator-name = "vbus_otg";
				interrupts = <IT_OCP_OTG 0>;
				regulator-active-discharge;
			 };

			 vbus_sw: pwr_sw2 {
				regulator-name = "vbus_sw";
				interrupts = <IT_OCP_SWOUT 0>;
				regulator-active-discharge;
			 };
		};
	};
	/* USER CODE END i2c2 */
};

&ipcc{
	status = "okay";

	/* USER CODE BEGIN ipcc */
	/* USER CODE END ipcc */
};

&iwdg2{
	status = "okay";

	/* USER CODE BEGIN iwdg2 */
	timeout-sec = <32>;
	/* USER CODE END iwdg2 */
};

&pwr{
	status = "okay";

	/* USER CODE BEGIN pwr */
	/* pwr-supply = <&vdd>; */
	/* USER CODE END pwr */
};

&rcc{
	u-boot,dm-pre-reloc;
	status = "okay";

	/* USER CODE BEGIN rcc */
	/* USER CODE END rcc */
};

&rng1{
	status = "okay";

	/* USER CODE BEGIN rng1 */
	/* USER CODE END rng1 */
};

&sdmmc1{
	u-boot,dm-pre-reloc;
	pinctrl-names = "default", "opendrain", "sleep";
	pinctrl-0 = <&sdmmc1_pins_mx>;
	pinctrl-1 = <&sdmmc1_opendrain_pins_mx>;
	pinctrl-2 = <&sdmmc1_sleep_pins_mx>;
	status = "okay";

	/* USER CODE BEGIN sdmmc1 */
	cd-gpios = <&gpiog 2 0>;
	cd-inverted;
	st,neg-edge;
	bus-width = <4>;
	vmmc-supply = <&reg_sd1_vmmc>;
	keep-power-in-suspend;
	/* USER CODE END sdmmc1 */
};

&sdmmc2{
	u-boot,dm-pre-reloc;
	pinctrl-names = "default", "opendrain", "sleep";
	pinctrl-0 = <&sdmmc2_pins_mx>;
	pinctrl-1 = <&sdmmc2_opendrain_pins_mx>;
	pinctrl-2 = <&sdmmc2_sleep_pins_mx>;
	status = "okay";

	/* USER CODE BEGIN sdmmc2 */
	non-removable;
	st,neg-edge;
	bus-width = <8>;
	vmmc-supply = <&v3v3>;
	keep-power-in-suspend;
	/* USER CODE END sdmmc2 */
};

&timers6{
	status = "okay";

	/* USER CODE BEGIN timers6 */
	/* spare dmas for other usage */
	/delete-property/dmas;
	/delete-property/dma-names;
	timer@5 {
		status = "okay";
	};
	/* USER CODE END timers6 */
};

&uart5{
	u-boot,dm-pre-reloc;
	pinctrl-names = "default", "sleep";
	pinctrl-0 = <&uart5_pins_mx>;
	pinctrl-1 = <&uart5_sleep_pins_mx>;
	
	rxen-gpio = <&gpiog 15 GPIO_ACTIVE_HIGH>;
	rts-gpio = <&gpiof 1 GPIO_ACTIVE_HIGH>;
	mode-gpio = <&gpiod 1 GPIO_ACTIVE_HIGH>;
	mode-two-lines-only;
	
	status = "okay";
};

&uart4{
	u-boot,dm-pre-reloc;
	pinctrl-names = "default", "sleep";
	pinctrl-0 = <&uart4_pins_mx>;
	pinctrl-1 = <&uart4_sleep_pins_mx>;
	
	status = "okay";
};

&usbh_ehci {
	phys = <&usbphyc_port0>;
	phy-names = "usb";
	status = "okay";
};

&usbotg_hs {
	dr_mode = "peripheral";
	force-b-session-valid;
	phys = <&usbphyc_port1 0>;
	phy-names = "usb2-phy";
	status = "okay";
};

&usbphyc {
	vdd3v3-supply = <&vdd_usb>;
	status = "okay";
};

&usbphyc_port0 {
	st,phy-tuning = <&usb_phy_tuning>;
};

&usbphyc_port1 {
	st,phy-tuning = <&usb_phy_tuning>;
};

&usbh_ehci {
	#address-cells = <1>;
	#size-cells = <0>;
	usb1@1 {
		compatible = "usb424,9512";
        #address-cells = <1>;
        #size-cells = <0>;
		reg = <1>;

		usbeth: usbether@1 {
			compatible = "usb424,ec00";
			reg = <1>;
			/* Filled in by U-Boot */
			mac-address = [ 00 00 00 00 00 00 ];			
		};
	};
};

&ltdc {
	status = "okay";
	port {
		#address-cells = <1>;
		#size-cells = <0>;

		ltdc_out_rgb: endpoint {
			remote-endpoint = <&panel_in_rgb>;
		};
	};
};

&gpu {
	contiguous-area = <&gpu_reserved>;
	status = "okay";
};

/* USER CODE BEGIN addons */
&m4_rproc {
memory-region = <&retram>, <&mcuram>, <&mcuram2>, <&vdev0vring0>,
		<&vdev0vring1>, <&vdev0buffer>;
};

&dma1 {
	sram = <&dma_pool>;
};

&dma2 {
	sram = <&dma_pool>;
};

/* PWM for backlight dimming */
&timers2 {
	status = "okay";
	/* spare dmas for other usage */
	/delete-property/dmas;
	/delete-property/dma-names;
	pwm2: pwm {
		pinctrl-names = "default", "sleep";
		pinctrl-0 = <&pwm2bl_pins>;
		pinctrl-1 = <&pwm2bl_sleep_pins>;
		status = "okay";
		};
};

/* PWM for beeper */
&timers5 {
	status = "okay";
	/* spare dmas for other usage */
	/delete-property/dmas;
	/delete-property/dma-names;
	pwm5: pwm {
		pinctrl-names = "default", "sleep";
		pinctrl-0 = <&pwm5beep_pins>;
		pinctrl-1 = <&pwm5beep_sleep_pins>;
		status = "okay";
		};
};

/* eth0 */
&ethernet0 {
	status = "okay";
	pinctrl-0 = <&ethernet0_rmii_pins>;
	pinctrl-1 = <&ethernet0_rmii_pins_sleep>;
	pinctrl-names = "default", "sleep";
	phy-mode = "rmii";
	max-speed = <100>;
	phy-handle = <&phy0>;

	mdio0 {
		#address-cells = <1>;
		#size-cells = <0>;
		compatible = "snps,dwmac-mdio";
		phy0: ethernet-phy@0 {
			reg = <1>;
		};
	};
};

/* can 0 */
&m_can1 {
	status = "okay";
	pinctrl-0 = <&can0_pins>;
	pinctrl-1 = <&can0_pins_sleep>;
	pinctrl-names = "default", "sleep";
	transceiver = <&tja1145>;
};

/* can 1 */
&m_can2 {
	status = "okay";
	pinctrl-0 = <&can1_pins>;
	pinctrl-1 = <&can1_pins_sleep>;
	pinctrl-names = "default", "sleep";
};

/* SPI dev */
&spi3 {
	status = "okay";

	pinctrl-0 = <&spi3_pins_ns02>;
	pinctrl-names = "default";
	cs-gpios = <&gpiof 9 GPIO_ACTIVE_LOW>;
	/delete-property/dmas;
	/delete-property/dma-names;

	tja1145: tja1145@0 {
		compatible = "nxp,tja1145";
		reg = <0>;
		spi-cpha;
		spi-max-frequency = <500000>;
	};
};

&spi5 {
	status = "okay";

	pinctrl-0 = <&spi5_pins_ns02>;
	pinctrl-names = "default";
	cs-gpios = <&gpiof 6 GPIO_ACTIVE_LOW>, <&gpiod 5 GPIO_ACTIVE_LOW>;
	/delete-property/dmas;
	/delete-property/dma-names;
	
	
	spidev1_0: spi5@0 {
		compatible = "generic,spidev";
		reg = <0>;
		spi-max-frequency = <1000000>;
	};

	flash0: n25q256a@1 {
		#address-cells = <1>;
		#size-cells = <1>;
		compatible = "jedec,spi-nor";
		status = "okay";
		reg = <1>;      /* chip select */
		spi-max-frequency = <10000000>;
		/* m25p,fast-read; not compatible with our ic, don't use */
		page-size = <256>; 
		block-size = <16>; /* 2^16, 64KB */
		read-delay = <4>;  /* delay value in read data capture register */
		cdns,tshsl-ns = <50>;
		cdns,tsd2d-ns = <50>;
		cdns,tchsh-ns = <4>;
		cdns,tslch-ns = <4>;
	};
};

&dcmi {
	status = "okay";
	pinctrl-names = "default", "sleep";
	pinctrl-0 = <&dcmi_pins_ns02>;
	pinctrl-1 = <&dcmi_sleep_pins_ns02>;

	port {
		dcmi_0: endpoint {
			remote-endpoint = <&we20cam_0>;
			bus-width = <8>;
			hsync-active = <1>;
			vsync-active = <1>;
			pclk-sample = <1>;
			pclk-max-frequency = <77000000>;
		};
	};
};
/* USER CODE END addons */

